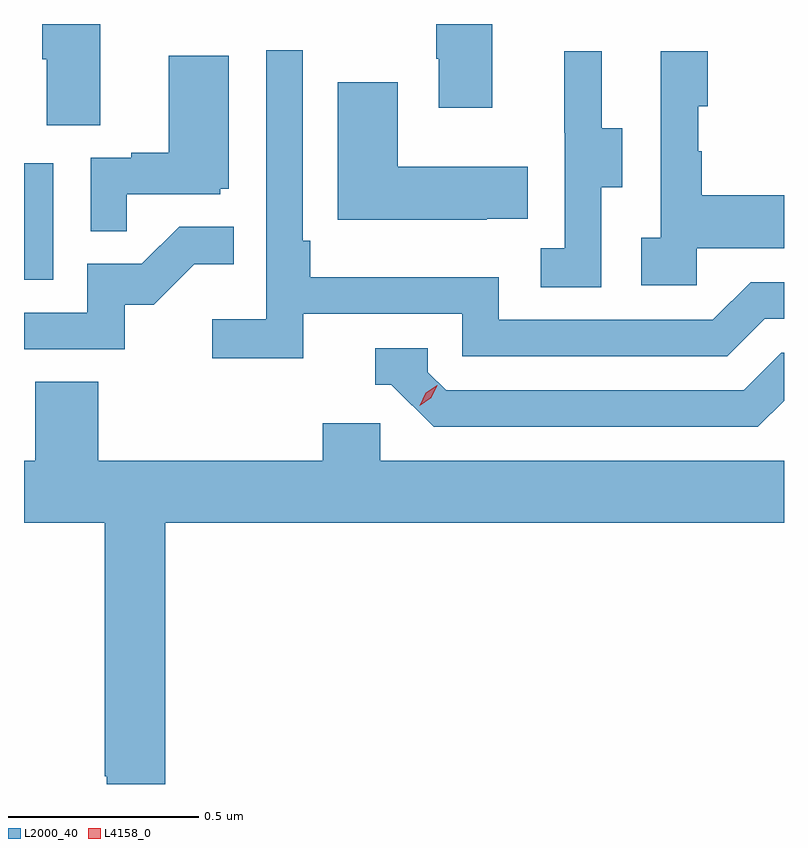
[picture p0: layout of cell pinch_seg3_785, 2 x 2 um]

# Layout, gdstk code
import gdstk
lib = gdstk.Library(unit=1e-6, precision=1e-09)
def R(c, l, rs):  # rectangles x0, y0, x1, y1
    for r in rs: c.add(gdstk.rectangle(r[:2], r[2:], *l))
def P(c, l, *ps):  # polygons
    for p in ps: c.add(gdstk.Polygon(p, *l))
L2000_40 = (2000, 40)
L4158_0 = (4158, 0)

pinch_seg3_785 = lib.new_cell('pinch_seg3_785')
R(pinch_seg3_785, L2000_40, [(814.091,746.844,814.168,747.151)])
P(pinch_seg3_785, L2000_40, [(814.291,747.517),(814.139,747.517),(814.139,747.424),(814.151,747.424),(814.151,747.25),(814.291,747.25)],
  [(815.323,747.517),(815.176,747.517),(815.176,747.425),(815.183,747.425),(815.183,747.297),(815.323,747.297)],
  [(814.826,746.754),(815.244,746.754),(815.244,746.643),(815.941,746.643),(816.04,746.742),(816.091,746.742),(816.091,746.838),(816.003,746.838),(815.904,746.739),(815.34,746.739),(815.34,746.851),(814.844,746.851),(814.844,746.947),(814.824,746.947),(814.824,747.448),(814.728,747.448),(814.728,746.74),(814.587,746.74),(814.587,746.638),(814.826,746.638)],
  [(815.61,747.088),(815.665,747.088),(815.665,747.243),(815.611,747.243),(815.611,747.445),(815.513,747.445),(815.513,747.231),(815.514,747.231),(815.514,746.927),(815.451,746.927),(815.451,746.824),(815.61,746.824)],
  [(815.862,746.927),(816.091,746.927),(816.091,747.067),(815.875,747.067),(815.875,747.182),(815.865,747.182),(815.865,747.3),(815.89,747.3),(815.89,747.445),(815.766,747.445),(815.766,746.954),(815.715,746.954),(815.715,746.829),(815.862,746.829)],
  [(814.361,747.069),(814.608,747.069),(814.608,747.084),(814.63,747.084),(814.63,747.433),(814.472,747.433),(814.472,747.178),(814.373,747.178),(814.373,747.165),(814.266,747.165),(814.266,746.971),(814.361,746.971)],
  [(815.309,747.005),(815.417,747.005),(815.417,747.142),(815.074,747.142),(815.074,747.364),(814.916,747.364),(814.916,747.002),(815.309,747.002)],
  [(814.356,746.778),(814.432,746.778),(814.539,746.885),(814.643,746.885),(814.643,746.984),(814.499,746.984),(814.401,746.886),(814.257,746.886),(814.257,746.757),(814.091,746.757),(814.091,746.661),(814.356,746.661)],
  [(816.091,746.526),(816.091,746.652),(816.084,746.652),(815.985,746.553),(815.202,746.553),(815.154,746.601),(815.154,746.664),(815.015,746.664),(815.015,746.568),(815.058,746.568),(815.169,746.457),(816.022,746.457)],
  [(814.463,746.204),(816.091,746.204),(816.091,746.368),(815.028,746.368),(815.028,746.466),(814.877,746.466),(814.877,746.368),(814.286,746.368),(814.286,746.576),(814.121,746.576),(814.121,746.368),(814.091,746.368),(814.091,746.204),(814.303,746.204),(814.303,745.537),(814.309,745.537),(814.309,745.517),(814.463,745.517)])
P(pinch_seg3_785, L4158_0, [(815.133,746.513),(815.133,746.513),(815.148,746.546),(815.179,746.566),(815.179,746.566),(815.179,746.566),(815.163,746.533),(815.133,746.513)])

lib.write_gds('pinch_seg3_785.gds')
